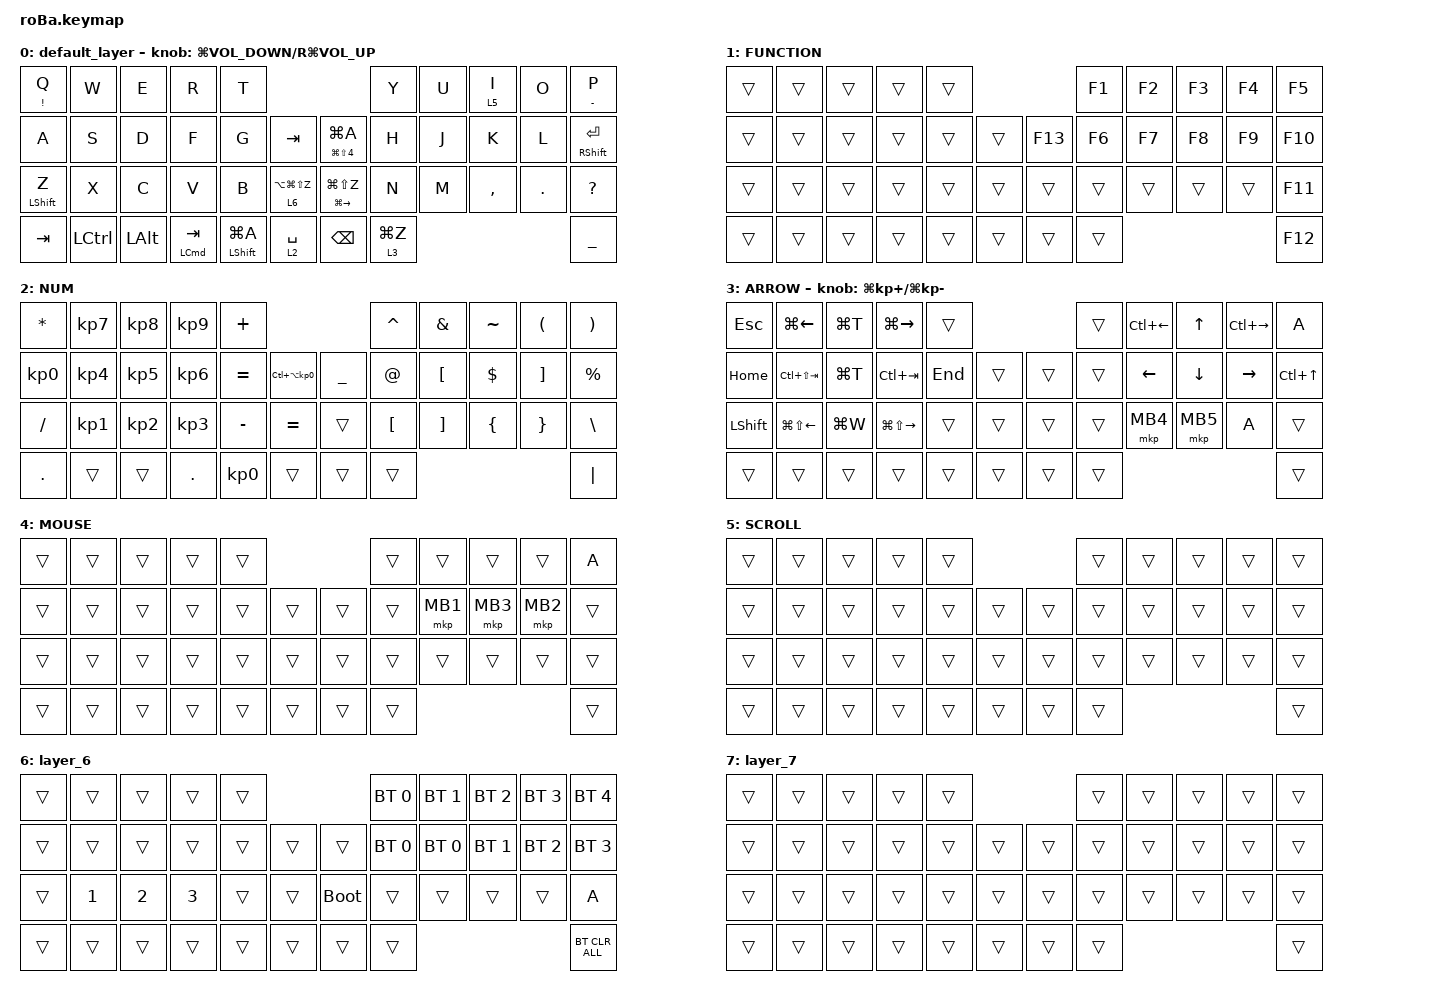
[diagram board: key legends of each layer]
#include <behaviors.dtsi>
#include <dt-bindings/zmk/bt.h>
#include <dt-bindings/zmk/keys.h>
#include <dt-bindings/zmk/pointing.h>

&mt {
    flavor = "balanced";
    quick-tap-ms = <0>;
};

&trackball {
    automouse-layer = <4>;
    scroll-layers = <5>;

    // arrows {
    //     layers = <3>;
    //     bindings =
    //         <&kp RIGHT_ARROW>,
    //         <&kp LEFT_ARROW>,
    //         <&kp UP_ARROW>,
    //         <&kp DOWN_ARROW>;
    //     tick = <10>;
    //     wait-ms = <5>;
    //     tap-ms = <5>;
    // };
};

/ {
    combos {
        compatible = "zmk,combos";

        shift_tab {
            bindings = <&kp LANGUAGE_2>;
            key-positions = <12 13>;
        };

        english {
            bindings = <&kp LANGUAGE_1>;
            key-positions = <18 19>;
        };

        copy {
            bindings = <&kp LG(C)>;
            key-positions = <7 6>;
        };

        paste {
            bindings = <&kp LG(V)>;
            key-positions = <2 3>;
        };

        undo {
            bindings = <&kp RG(Z)>;
            key-positions = <2 1>;
        };

        redo {
            bindings = <&kp RG(A)>;
            key-positions = <20 19>;
        };
    };

    macros {
        to_layer_0: to_layer_0 {
            compatible = "zmk,behavior-macro-one-param";
            #binding-cells = <1>;
            bindings = <&to 0 &macro_param_1to1 &kp MACRO_PLACEHOLDER>;
            label = "TO_LAYER_0";
        };
    };

    behaviors {
        lt_to_layer_0: lt_to_layer_0 {
            compatible = "zmk,behavior-hold-tap";
            label = "LAYER_TAP_TO_0";
            bindings = <&mo>, <&to_layer_0>;

            #binding-cells = <2>;
            tapping-term-ms = <200>;
        };
    };

    keymap {
        compatible = "zmk,keymap";

        default_layer {
            bindings = <
&mt EXCLAMATION Q  &kp W             &kp E         &kp R                 &kp T                                                                         &kp Y        &kp U  &lt 5 I    &kp O    &mt MINUS P
&kp A              &kp S             &kp D         &kp F                 &kp G                 &kp TAB                  &mt LG(LS(NUMBER_4)) LG(A)     &kp H        &kp J  &kp K      &kp L    &mt RIGHT_SHIFT ENTER
&mt LEFT_SHIFT Z   &kp X             &kp C         &kp V                 &kp B                 &lt 6 LA(LG(LS(Z)))      &mt LG(RIGHT_ARROW) LG(LS(Z))  &kp N        &kp M  &kp COMMA  &kp DOT  &kp QUESTION
&kp TAB            &kp LEFT_CONTROL  &kp LEFT_ALT  &mt LEFT_COMMAND TAB  &mt LEFT_SHIFT LG(A)  &lt 2 SPACE              &kp BACKSPACE                  &lt 3 LG(Z)                             &kp UNDERSCORE
            >;

            sensor-bindings = <&inc_dec_kp LG(C_VOLUME_DOWN) RG(C_VOL_UP)>;
        };

        FUNCTION {
            bindings = <
&trans  &trans  &trans  &trans  &trans                       &kp F1  &kp F2  &kp F3  &kp F4  &kp F5
&trans  &trans  &trans  &trans  &trans  &trans      &kp F13  &kp F6  &kp F7  &kp F8  &kp F9  &kp F10
&trans  &trans  &trans  &trans  &trans  &trans      &trans   &trans  &trans  &trans  &trans  &kp F11
&trans  &trans  &trans  &trans  &trans  &trans      &trans   &trans                          &kp F12
            >;
        };

        NUM {
            bindings = <
&kp ASTERISK     &kp KP_NUMBER_7  &kp KP_NUMBER_8  &kp KP_NUMBER_9  &kp PLUS                                                      &kp CARET         &kp AMPERSAND      &kp TILDE       &kp LEFT_PARENTHESIS  &kp RIGHT_PARENTHESIS
&kp KP_NUMBER_0  &kp KP_NUMBER_4  &kp KP_NUMBER_5  &kp KP_NUMBER_6  &kp EQUAL        &kp LC(LA(KP_NUMBER_0))      &kp UNDERSCORE  &kp AT            &kp LBKT           &kp DOLLAR      &kp RBKT              &kp PERCENT
&kp SLASH        &kp KP_NUMBER_1  &kp KP_NUMBER_2  &kp KP_NUMBER_3  &kp MINUS        &kp EQUAL                    &trans          &kp LEFT_BRACKET  &kp RIGHT_BRACKET  &kp LEFT_BRACE  &kp RIGHT_BRACE       &kp BACKSLASH
&kp PERIOD       &trans           &trans           &kp PERIOD       &kp KP_NUMBER_0  &trans                       &trans          &trans                                                                     &kp PIPE
            >;
        };

        ARROW {
            bindings = <
&kp ESCAPE      &kp LG(LEFT_ARROW)      &kp LG(T)  &kp LG(RIGHT_ARROW)      &trans                       &trans  &kp LC(LEFT_ARROW)  &kp UP_ARROW    &kp LC(RIGHT_ARROW)  &kp A
&kp HOME        &kp LC(LS(TAB))         &kp LG(T)  &kp LC(TAB)              &kp END  &trans      &trans  &trans  &kp LEFT_ARROW      &kp DOWN_ARROW  &kp RIGHT_ARROW      &kp LC(UP_ARROW)
&kp LEFT_SHIFT  &kp LG(LS(LEFT_ARROW))  &kp LG(W)  &kp LG(LS(RIGHT_ARROW))  &trans   &trans      &trans  &trans  &mkp MB4            &mkp MB5        &kp A                &trans
&trans          &trans                  &trans     &trans                   &trans   &trans      &trans  &trans                                                           &trans
            >;

            sensor-bindings = <&inc_dec_kp LG(KP_PLUS) LG(KP_MINUS)>;
        };

        MOUSE {
            bindings = <
&trans  &trans  &trans  &trans  &trans                      &trans  &trans    &trans    &trans    &kp A
&trans  &trans  &trans  &trans  &trans  &trans      &trans  &trans  &mkp MB1  &mkp MB3  &mkp MB2  &trans
&trans  &trans  &trans  &trans  &trans  &trans      &trans  &trans  &trans    &trans    &trans    &trans
&trans  &trans  &trans  &trans  &trans  &trans      &trans  &trans                                &trans
            >;
        };

        SCROLL {
            bindings = <
&trans  &trans  &trans  &trans  &trans                      &trans  &trans  &trans  &trans  &trans
&trans  &trans  &trans  &trans  &trans  &trans      &trans  &trans  &trans  &trans  &trans  &trans
&trans  &trans  &trans  &trans  &trans  &trans      &trans  &trans  &trans  &trans  &trans  &trans
&trans  &trans  &trans  &trans  &trans  &trans      &trans  &trans                          &trans
            >;
        };

        layer_6 {
            bindings = <
&trans  &trans        &trans        &trans        &trans                           &bt BT_SEL 0  &bt BT_SEL 1  &bt BT_SEL 2  &bt BT_SEL 3  &bt BT_SEL 4
&trans  &trans        &trans        &trans        &trans  &trans      &trans       &bt BT_SEL 0  &bt BT_SEL 0  &bt BT_SEL 1  &bt BT_SEL 2  &bt BT_SEL 3
&trans  &kp NUMBER_1  &kp NUMBER_2  &kp NUMBER_3  &trans  &trans      &bootloader  &trans        &trans        &trans        &trans        &kp A
&trans  &trans        &trans        &trans        &trans  &trans      &trans       &trans                                                  &bt BT_CLR_ALL
            >;
        };

        layer_7 {
            bindings = <
&trans  &trans  &trans  &trans  &trans                      &trans  &trans  &trans  &trans  &trans
&trans  &trans  &trans  &trans  &trans  &trans      &trans  &trans  &trans  &trans  &trans  &trans
&trans  &trans  &trans  &trans  &trans  &trans      &trans  &trans  &trans  &trans  &trans  &trans
&trans  &trans  &trans  &trans  &trans  &trans      &trans  &trans                          &trans
            >;
        };
    };
};
